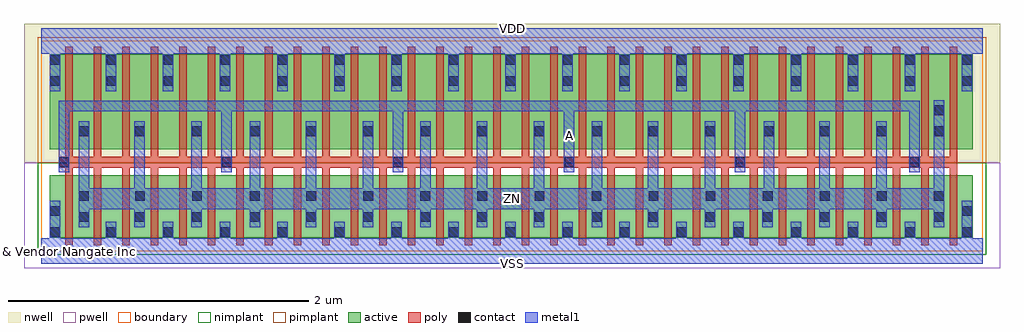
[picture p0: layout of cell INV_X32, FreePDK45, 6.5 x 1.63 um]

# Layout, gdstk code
import gdstk
lib = gdstk.Library(unit=1e-6, precision=1e-10)
def R(c, l, rs):  # rectangles x0, y0, x1, y1
    for r in rs: c.add(gdstk.rectangle(r[:2], r[2:], *l))
def A(c, l, x, y, w, h, nx, ny, dx, dy):  # array of equal rectangles
    R(c, l, [(x+i*dx, y+j*dy, x+i*dx+w, y+j*dy+h) for i in range(nx) for j in range(ny)])
def P(c, l, *ps):  # polygons
    for p in ps: c.add(gdstk.Polygon(p, *l))
active = (1, 0)
pwell = (2, 0)
nwell = (3, 0)
nimplant = (4, 0)
pimplant = (5, 0)
poly = (9, 0)
contact = (10, 0)
metal1 = (11, 0)
boundary = (235, 0)

inv_x32 = lib.new_cell('INV_X32')
R(inv_x32, active, [(0.055,0.09,6.205,0.505), (0.055,0.68,6.205,1.31)])
R(inv_x32, pwell, [(-0.115,-0.115,6.385,0.59)])
R(inv_x32, nwell, [(-0.115,0.59,6.385,1.515)])
R(inv_x32, nimplant, [(-0.025,-0.025,6.295,0.59)])
R(inv_x32, pimplant, [(-0.025,0.59,6.295,1.425)])
P(inv_x32, poly, [(0.16,0.04),(0.16,0.555),(0.115,0.555),(0.115,0.63),(0.16,0.63),(0.16,1.36),(0.21,1.36),(0.21,0.63),(0.35,0.63),(0.35,1.36),(0.4,1.36),(0.4,0.63),(0.54,0.63),(0.54,1.36),(0.59,1.36),(0.59,0.63),(0.73,0.63),(0.73,1.36),(0.78,1.36),(0.78,0.63),(0.92,0.63),(0.92,1.36),(0.97,1.36),(0.97,0.63),(1.11,0.63),(1.11,1.36),(1.16,1.36),(1.16,0.63),(1.3,0.63),(1.3,1.36),(1.35,1.36),(1.35,0.63),(1.49,0.63),(1.49,1.36),(1.54,1.36),(1.54,0.63),(1.68,0.63),(1.68,1.36),(1.73,1.36),(1.73,0.63),(1.87,0.63),(1.87,1.36),(1.92,1.36),(1.92,0.63),(2.06,0.63),(2.06,1.36),(2.11,1.36),(2.11,0.63),(2.25,0.63),(2.25,1.36),(2.3,1.36),(2.3,0.63),(2.44,0.63),(2.44,1.36),(2.49,1.36),(2.49,0.63),(2.63,0.63),(2.63,1.36),(2.68,1.36),(2.68,0.63),(2.82,0.63),(2.82,1.36),(2.87,1.36),(2.87,0.63),(3.01,0.63),(3.01,1.36),(3.06,1.36),(3.06,0.63),(3.2,0.63),(3.2,1.36),(3.25,1.36),(3.25,0.63),(3.39,0.63),(3.39,1.36),(3.44,1.36),(3.44,0.63),(3.58,0.63),(3.58,1.36),(3.63,1.36),(3.63,0.63),(3.77,0.63),(3.77,1.36),(3.82,1.36),(3.82,0.63),(3.96,0.63),(3.96,1.36),(4.01,1.36),(4.01,0.63),(4.15,0.63),(4.15,1.36),(4.2,1.36),(4.2,0.63),(4.34,0.63),(4.34,1.36),(4.39,1.36),(4.39,0.63),(4.53,0.63),(4.53,1.36),(4.58,1.36),(4.58,0.63),(4.72,0.63),(4.72,1.36),(4.77,1.36),(4.77,0.63),(4.91,0.63),(4.91,1.36),(4.96,1.36),(4.96,0.63),(5.1,0.63),(5.1,1.36),(5.15,1.36),(5.15,0.63),(5.29,0.63),(5.29,1.36),(5.34,1.36),(5.34,0.63),(5.48,0.63),(5.48,1.36),(5.53,1.36),(5.53,0.63),(5.67,0.63),(5.67,1.36),(5.72,1.36),(5.72,0.63),(5.86,0.63),(5.86,1.36),(5.91,1.36),(5.91,0.63),(6.05,0.63),(6.05,1.36),(6.1,1.36),(6.1,0.04),(6.05,0.04),(6.05,0.555),(5.91,0.555),(5.91,0.04),(5.86,0.04),(5.86,0.555),(5.72,0.555),(5.72,0.04),(5.67,0.04),(5.67,0.555),(5.53,0.555),(5.53,0.04),(5.48,0.04),(5.48,0.555),(5.34,0.555),(5.34,0.04),(5.29,0.04),(5.29,0.555),(5.15,0.555),(5.15,0.04),(5.1,0.04),(5.1,0.555),(4.96,0.555),(4.96,0.04),(4.91,0.04),(4.91,0.555),(4.77,0.555),(4.77,0.04),(4.72,0.04),(4.72,0.555),(4.58,0.555),(4.58,0.04),(4.53,0.04),(4.53,0.555),(4.39,0.555),(4.39,0.04),(4.34,0.04),(4.34,0.555),(4.2,0.555),(4.2,0.04),(4.15,0.04),(4.15,0.555),(4.01,0.555),(4.01,0.04),(3.96,0.04),(3.96,0.555),(3.82,0.555),(3.82,0.04),(3.77,0.04),(3.77,0.555),(3.63,0.555),(3.63,0.04),(3.58,0.04),(3.58,0.555),(3.44,0.555),(3.44,0.04),(3.39,0.04),(3.39,0.555),(3.25,0.555),(3.25,0.04),(3.2,0.04),(3.2,0.555),(3.06,0.555),(3.06,0.04),(3.01,0.04),(3.01,0.555),(2.87,0.555),(2.87,0.04),(2.82,0.04),(2.82,0.555),(2.68,0.555),(2.68,0.04),(2.63,0.04),(2.63,0.555),(2.49,0.555),(2.49,0.04),(2.44,0.04),(2.44,0.555),(2.3,0.555),(2.3,0.04),(2.25,0.04),(2.25,0.555),(2.11,0.555),(2.11,0.04),(2.06,0.04),(2.06,0.555),(1.92,0.555),(1.92,0.04),(1.87,0.04),(1.87,0.555),(1.73,0.555),(1.73,0.04),(1.68,0.04),(1.68,0.555),(1.54,0.555),(1.54,0.04),(1.49,0.04),(1.49,0.555),(1.35,0.555),(1.35,0.04),(1.3,0.04),(1.3,0.555),(1.16,0.555),(1.16,0.04),(1.11,0.04),(1.11,0.555),(0.97,0.555),(0.97,0.04),(0.92,0.04),(0.92,0.555),(0.78,0.555),(0.78,0.04),(0.73,0.04),(0.73,0.555),(0.59,0.555),(0.59,0.04),(0.54,0.04),(0.54,0.555),(0.4,0.555),(0.4,0.04),(0.35,0.04),(0.35,0.555),(0.21,0.555),(0.21,0.04)])
A(inv_x32, contact, 0.435, 0.095, 0.065, 0.065, 16, 2, 0.38, 1.005)
A(inv_x32, contact, 1.765, 0.195, 0.065, 0.065, 12, 2, 0.38, 0.14)
A(inv_x32, contact, 1.205, 0.56, 0.065, 0.065, 4, 1, 1.14, 0)
A(inv_x32, contact, 0.435, 1.24, 0.065, 0.065, 16, 1, 0.38, 0)
R(inv_x32, contact, [(0.06,0.095,0.125,0.16), (0.25,0.195,0.315,0.26), (0.625,0.195,0.69,0.26), (1.005,0.195,1.07,0.26), (1.39,0.195,1.455,0.26), (0.06,0.235,0.125,0.3), (6.135,0.235,6.2,0.3), (0.25,0.335,0.315,0.4), (0.625,0.335,0.69,0.4), (1.005,0.335,1.07,0.4), (1.39,0.335,1.455,0.4), (0.12,0.56,0.185,0.625), (5.78,0.56,5.845,0.625), (0.25,0.765,0.315,0.83), (0.625,0.765,0.69,0.83), (1.005,0.765,1.07,0.83), (1.39,0.765,1.455,0.83), (1.765,0.765,1.83,0.83), (2.145,0.765,2.21,0.83), (2.53,0.765,2.595,0.83), (2.905,0.765,2.97,0.83), (3.285,0.765,3.35,0.83), (3.67,0.765,3.735,0.83), (4.045,0.765,4.11,0.83), (4.425,0.765,4.49,0.83), (4.81,0.765,4.875,0.83), (5.185,0.765,5.25,0.83), (5.565,0.765,5.63,0.83), (5.95,0.765,6.015,0.83), (5.95,0.905,6.015,0.97), (0.06,1.1,0.125,1.165), (0.06,1.24,0.125,1.305)])
P(inv_x32, metal1, [(0.115,0.525),(0.115,1),(5.85,1),(5.85,0.525),(5.78,0.525),(5.78,0.93),(4.69,0.93),(4.69,0.525),(4.62,0.525),(4.62,0.93),(3.55,0.93),(3.55,0.525),(3.48,0.525),(3.48,0.93),(2.41,0.93),(2.41,0.525),(2.34,0.525),(2.34,0.93),(1.27,0.93),(1.27,0.525),(1.2,0.525),(1.2,0.93),(0.185,0.93),(0.185,0.525)],
  [(0.25,0.16),(0.25,0.865),(0.32,0.865),(0.32,0.42),(0.62,0.42),(0.62,0.865),(0.69,0.865),(0.69,0.42),(1,0.42),(1,0.865),(1.07,0.865),(1.07,0.42),(1.39,0.42),(1.39,0.865),(1.46,0.865),(1.46,0.42),(1.76,0.42),(1.76,0.865),(1.83,0.865),(1.83,0.42),(2.14,0.42),(2.14,0.865),(2.21,0.865),(2.21,0.42),(2.525,0.42),(2.525,0.865),(2.595,0.865),(2.595,0.42),(2.9,0.42),(2.9,0.865),(2.97,0.865),(2.97,0.42),(3.28,0.42),(3.28,0.865),(3.35,0.865),(3.35,0.42),(3.665,0.42),(3.665,0.865),(3.735,0.865),(3.735,0.42),(4.04,0.42),(4.04,0.865),(4.11,0.865),(4.11,0.42),(4.42,0.42),(4.42,0.865),(4.49,0.865),(4.49,0.42),(4.81,0.42),(4.81,0.865),(4.88,0.865),(4.88,0.42),(5.18,0.42),(5.18,0.865),(5.25,0.865),(5.25,0.42),(5.56,0.42),(5.56,0.865),(5.63,0.865),(5.63,0.42),(5.945,0.42),(5.945,1.005),(6.015,1.005),(6.015,0.16),(5.945,0.16),(5.945,0.28),(5.63,0.28),(5.63,0.16),(5.56,0.16),(5.56,0.28),(5.25,0.28),(5.25,0.16),(5.18,0.16),(5.18,0.28),(4.87,0.28),(4.87,0.16),(4.8,0.16),(4.8,0.28),(4.49,0.28),(4.49,0.16),(4.42,0.16),(4.42,0.28),(4.11,0.28),(4.11,0.16),(4.04,0.16),(4.04,0.28),(3.735,0.28),(3.735,0.16),(3.665,0.16),(3.665,0.28),(3.35,0.28),(3.35,0.16),(3.28,0.16),(3.28,0.28),(2.97,0.28),(2.97,0.16),(2.9,0.16),(2.9,0.28),(2.595,0.28),(2.595,0.16),(2.525,0.16),(2.525,0.28),(2.21,0.28),(2.21,0.16),(2.14,0.16),(2.14,0.28),(1.83,0.28),(1.83,0.16),(1.76,0.16),(1.76,0.28),(1.46,0.28),(1.46,0.16),(1.39,0.16),(1.39,0.28),(1.07,0.28),(1.07,0.16),(1,0.16),(1,0.28),(0.69,0.28),(0.69,0.16),(0.62,0.16),(0.62,0.28),(0.32,0.28),(0.32,0.16)],
  [(0,-0.085),(0,0.085),(0.055,0.085),(0.055,0.335),(0.125,0.335),(0.125,0.085),(0.43,0.085),(0.43,0.195),(0.5,0.195),(0.5,0.085),(0.81,0.085),(0.81,0.195),(0.88,0.195),(0.88,0.085),(1.19,0.085),(1.19,0.195),(1.26,0.195),(1.26,0.085),(1.57,0.085),(1.57,0.195),(1.64,0.195),(1.64,0.085),(1.95,0.085),(1.95,0.195),(2.02,0.195),(2.02,0.085),(2.33,0.085),(2.33,0.195),(2.4,0.195),(2.4,0.085),(2.71,0.085),(2.71,0.195),(2.78,0.195),(2.78,0.085),(3.09,0.085),(3.09,0.195),(3.16,0.195),(3.16,0.085),(3.47,0.085),(3.47,0.195),(3.54,0.195),(3.54,0.085),(3.85,0.085),(3.85,0.195),(3.92,0.195),(3.92,0.085),(4.23,0.085),(4.23,0.195),(4.3,0.195),(4.3,0.085),(4.61,0.085),(4.61,0.195),(4.68,0.195),(4.68,0.085),(4.99,0.085),(4.99,0.195),(5.06,0.195),(5.06,0.085),(5.37,0.085),(5.37,0.195),(5.44,0.195),(5.44,0.085),(5.75,0.085),(5.75,0.195),(5.82,0.195),(5.82,0.085),(6.13,0.085),(6.13,0.335),(6.2,0.335),(6.2,0.085),(6.27,0.085),(6.27,-0.085)],
  [(0.055,1.065),(0.055,1.315),(0,1.315),(0,1.485),(6.27,1.485),(6.27,1.315),(6.2,1.315),(6.2,1.065),(6.13,1.065),(6.13,1.315),(5.82,1.315),(5.82,1.065),(5.75,1.065),(5.75,1.315),(5.44,1.315),(5.44,1.065),(5.37,1.065),(5.37,1.315),(5.06,1.315),(5.06,1.065),(4.99,1.065),(4.99,1.315),(4.68,1.315),(4.68,1.065),(4.61,1.065),(4.61,1.315),(4.3,1.315),(4.3,1.065),(4.23,1.065),(4.23,1.315),(3.92,1.315),(3.92,1.065),(3.85,1.065),(3.85,1.315),(3.54,1.315),(3.54,1.065),(3.47,1.065),(3.47,1.315),(3.16,1.315),(3.16,1.065),(3.09,1.065),(3.09,1.315),(2.78,1.315),(2.78,1.065),(2.71,1.065),(2.71,1.315),(2.4,1.315),(2.4,1.065),(2.33,1.065),(2.33,1.315),(2.02,1.315),(2.02,1.065),(1.95,1.065),(1.95,1.315),(1.64,1.315),(1.64,1.065),(1.57,1.065),(1.57,1.315),(1.26,1.315),(1.26,1.065),(1.19,1.065),(1.19,1.315),(0.88,1.315),(0.88,1.065),(0.81,1.065),(0.81,1.315),(0.5,1.315),(0.5,1.065),(0.43,1.065),(0.43,1.315),(0.125,1.315),(0.125,1.065)])
R(inv_x32, boundary, [(0,0,6.27,1.4)])
inv_x32.add(gdstk.Label('A', (3.515,0.77), layer=11, texttype=0))
inv_x32.add(gdstk.Label('VDD', (3.135,1.485), layer=11, texttype=0))
inv_x32.add(gdstk.Label('VSS', (3.135,-0.085), layer=11, texttype=0))
inv_x32.add(gdstk.Label('ZN', (3.135,0.35), layer=11, texttype=0))
inv_x32.add(gdstk.Label('& Vendor Nangate Inc', (0,0), layer=63, texttype=63))
inv_x32.add(gdstk.Label('& Product Open Cell Library', (0,0), layer=63, texttype=63))
inv_x32.add(gdstk.Label('& Version 2010_12', (0,0), layer=63, texttype=63))
inv_x32.add(gdstk.Label('& Instance INV_X32', (0,0), layer=63, texttype=63))

lib.write_gds('INV_X32.gds')
